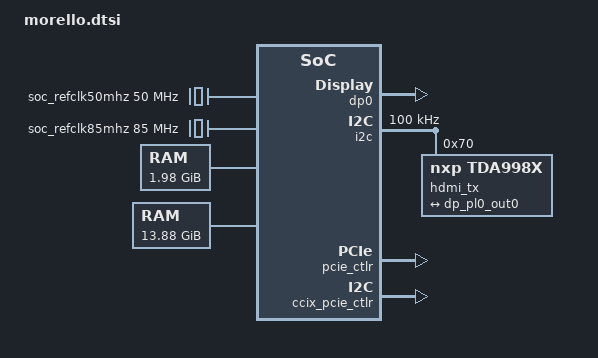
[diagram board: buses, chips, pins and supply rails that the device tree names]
// SPDX-License-Identifier: (GPL-2.0 OR BSD-3-Clause)
/*
 * Copyright (c) 2020-2024, Arm Limited. All rights reserved.
 */

#include <dt-bindings/interrupt-controller/arm-gic.h>

/ {
	interrupt-parent = <&gic>;

	#address-cells = <2>;
	#size-cells = <2>;

	chosen { };

	clocks {
		soc_refclk50mhz: clock-50000000 {
			compatible = "fixed-clock";
			#clock-cells = <0>;
			clock-frequency = <50000000>;
			clock-output-names = "apb_pclk";
		};

		soc_refclk85mhz: clock-85000000 {
			compatible = "fixed-clock";
			#clock-cells = <0>;
			clock-frequency = <85000000>;
			clock-output-names = "iofpga:aclk";
		};

		soc_uartclk: clock-50000000-uart {
			compatible = "fixed-clock";
			#clock-cells = <0>;
			clock-frequency = <50000000>;
			clock-output-names = "uartclk";
		};

		dpu_aclk: dpu-aclk {
			/* 77.1 MHz derived from 24 MHz reference clock */
			compatible = "fixed-clock";
			#clock-cells = <0>;
			clock-frequency = <350000000>;
			clock-output-names = "aclk";
		};

		dpu_pixel_clk: dpu-pixel-clk {
			compatible = "fixed-clock";
			#clock-cells = <0>;
			clock-frequency = <148500000>;
			clock-output-names = "pxclk";
		};
	};

	cpus {
		#address-cells = <2>;
		#size-cells = <0>;

		cpu0: cpu0@0 {
			compatible = "arm,neoverse-n1";
			reg = <0x0 0x0>;
			device_type = "cpu";
			enable-method = "psci";
			clocks = <&scmi_dvfs 0>;
		};

		cpu1: cpu1@100 {
			compatible = "arm,neoverse-n1";
			reg = <0x0 0x100>;
			device_type = "cpu";
			enable-method = "psci";
			clocks = <&scmi_dvfs 0>;
		};

		cpu2: cpu2@10000 {
			compatible = "arm,neoverse-n1";
			reg = <0x0 0x10000>;
			device_type = "cpu";
			enable-method = "psci";
			clocks = <&scmi_dvfs 1>;
		};

		cpu3: cpu3@10100 {
			compatible = "arm,neoverse-n1";
			reg = <0x0 0x10100>;
			device_type = "cpu";
			enable-method = "psci";
			clocks = <&scmi_dvfs 1>;
		};
	};

	firmware {
		interrupt-parent = <&gic>;

		scmi {
			compatible = "arm,scmi";
			mbox-names = "tx", "rx";
			mboxes = <&mailbox 1 0>, <&mailbox 1 1>;
			shmem = <&cpu_scp_hpri0>, <&cpu_scp_hpri1>;
			#address-cells = <1>;
			#size-cells = <0>;

			scmi_dvfs: protocol@13 {
				reg = <0x13>;
				#clock-cells = <1>;
			};

			scmi_clk: protocol@14 {
				reg = <0x14>;
				#clock-cells = <1>;
			};
		};
	};

	/* The first bank of memory, memory map is actually provided by UEFI. */
	memory@80000000 {
		device_type = "memory";
		/* [0x80000000-0xffffffff] */
		reg = <0x00000000 0x80000000 0x0 0x7F000000>;
	};

	memory@8080000000 {
		device_type = "memory";
		/* [0x8080000000-0x83f7ffffff] */
		reg = <0x00000080 0x80000000 0x3 0x78000000>;
	};

	pmu {
		compatible = "arm,armv8-pmuv3";
		interrupts = <GIC_PPI 7 IRQ_TYPE_LEVEL_HIGH>;
	};

	psci {
		compatible = "arm,psci-0.2";
		method = "smc";
	};

	reserved-memory {
		#address-cells = <2>;
		#size-cells = <2>;
		ranges;

		secure-firmware@ff000000 {
			reg = <0 0xff000000 0 0x01000000>;
			no-map;
		};
	};

	spe-pmu {
		compatible = "arm,statistical-profiling-extension-v1";
		interrupts = <GIC_PPI 5 IRQ_TYPE_LEVEL_HIGH>;
	};

	soc: soc {
		compatible = "simple-bus";
		#address-cells = <2>;
		#size-cells = <2>;
		interrupt-parent = <&gic>;
		ranges;

		dp0: display@2cc00000 {
			#address-cells = <1>;
			#size-cells = <0>;
			compatible = "arm,mali-d32", "arm,mali-d71";
			reg = <0 0x2cc00000 0 0x20000>;
			interrupts = <0 69 4>;
			clocks = <&dpu_aclk>;
			clock-names = "aclk";
			iommus = <&smmu_dp 0>, <&smmu_dp 1>, <&smmu_dp 2>, <&smmu_dp 3>,
				<&smmu_dp 8>;

			pl0: pipeline@0 {
				reg = <0>;
				clocks = <&dpu_pixel_clk>;
				clock-names = "pxclk";
				port {
					dp_pl0_out0: endpoint {
						remote-endpoint = <&tda998x_0_input>;
					};
				};
			};
		};

		i2c: i2c@1c0f0000 {
			compatible = "cdns,i2c-r1p14";
			reg = <0x0 0x1c0f0000 0x0 0x1000>;
			#address-cells = <1>;
			#size-cells = <0>;
			clock-frequency = <100000>;
			interrupts = <GIC_SPI 138 IRQ_TYPE_LEVEL_HIGH>;
			clocks = <&dpu_aclk>;

			hdmi_tx: hdmi-transmitter@70 {
				compatible = "nxp,tda998x";
				reg = <0x70>;
				video-ports = <0x234501>;
				port {
					tda998x_0_input: endpoint {
						remote-endpoint = <&dp_pl0_out0>;
					};
				};
			};
		};

		gic: interrupt-controller@2c010000 {
			compatible = "arm,gic-v3";
			#address-cells = <2>;
			#interrupt-cells = <3>;
			#size-cells = <2>;
			ranges;
			interrupt-controller;
		};

		smmu_dp: iommu@2ce00000 {
			compatible = "arm,smmu-v3";
			reg = <0 0x2ce00000 0 0x40000>;
			interrupts = <GIC_SPI 76 IRQ_TYPE_EDGE_RISING>,
					<GIC_SPI 80 IRQ_TYPE_EDGE_RISING>,
					<GIC_SPI 78 IRQ_TYPE_EDGE_RISING>;
			interrupt-names = "eventq", "gerror", "cmdq-sync";
			#iommu-cells = <1>;
		};

		smmu_ccix: iommu@4f000000 {
			compatible = "arm,smmu-v3";
			reg = <0 0x4f000000 0 0x40000>;
			interrupts = <GIC_SPI 228 IRQ_TYPE_EDGE_RISING>,
				     <GIC_SPI 230 IRQ_TYPE_EDGE_RISING>,
				     <GIC_SPI 41 IRQ_TYPE_EDGE_RISING>,
				     <GIC_SPI 229 IRQ_TYPE_EDGE_RISING>;
			interrupt-names = "eventq", "gerror", "priq", "cmdq-sync";
			msi-parent = <&its1 0>;
			#iommu-cells = <1>;
			dma-coherent;
		};

		smmu_pcie: iommu@4f400000 {
			compatible = "arm,smmu-v3";
			reg = <0 0x4f400000 0 0x40000>;
			interrupts = <GIC_SPI 235 IRQ_TYPE_EDGE_RISING>,
				     <GIC_SPI 237 IRQ_TYPE_EDGE_RISING>,
				     <GIC_SPI 40 IRQ_TYPE_EDGE_RISING>,
				     <GIC_SPI 236 IRQ_TYPE_EDGE_RISING>;
			interrupt-names = "eventq", "gerror", "priq", "cmdq-sync";
			msi-parent = <&its2 0>;
			#iommu-cells = <1>;
			dma-coherent;
		};

		mailbox: mhu@45000000 {
			compatible = "arm,mhu-doorbell", "arm,primecell";
			reg = <0x0 0x45000000 0x0 0x1000>;
			interrupts = <GIC_SPI 318 IRQ_TYPE_LEVEL_HIGH>,
				     <GIC_SPI 316 IRQ_TYPE_LEVEL_HIGH>;
			#mbox-cells = <2>;
			clocks = <&soc_refclk50mhz>;
			clock-names = "apb_pclk";
		};

		pcie_ctlr: pcie@28c0000000 {
			compatible = "pci-host-ecam-generic";
			device_type = "pci";
			reg = <0x28 0xC0000000 0 0x10000000>;
			ranges = <0x01000000 0x00 0x00000000 0x00 0x6F000000 0x00 0x00800000>,
				 <0x02000000 0x00 0x60000000 0x00 0x60000000 0x00 0x0F000000>,
				 <0x42000000 0x09 0x00000000 0x09 0x00000000 0x1F 0xC0000000>;
			bus-range = <0 255>;
			linux,pci-domain = <0>;
			#address-cells = <3>;
			#size-cells = <2>;
			dma-coherent;
			#interrupt-cells = <1>;
			interrupt-map-mask = <0 0 0 7>;
			interrupt-map = <0 0 0 1 &gic 0 0 0 169 IRQ_TYPE_LEVEL_HIGH>,
					<0 0 0 2 &gic 0 0 0 170 IRQ_TYPE_LEVEL_HIGH>,
					<0 0 0 3 &gic 0 0 0 171 IRQ_TYPE_LEVEL_HIGH>,
					<0 0 0 4 &gic 0 0 0 172 IRQ_TYPE_LEVEL_HIGH>;
			msi-map = <0 &its_pcie 0 0x10000>;
			iommu-map = <0 &smmu_pcie 0 0x10000>;
		};

		ccix_pcie_ctlr: pcie@4fc0000000 {
			compatible = "pci-host-ecam-generic";
			device_type = "pci";
			reg = <0x4F 0xC0000000 0 0x10000000>;
			ranges = <0x01000000 0x00 0x00000000 0x00 0x7F000000 0x00 0x00800000>,
				 <0x02000000 0x00 0x70000000 0x00 0x70000000 0x00 0x0F000000>,
				 <0x42000000 0x30 0x00000000 0x30 0x00000000 0x1F 0xC0000000>;
			bus-range = <0 255>;
			linux,pci-domain = <1>;
			#address-cells = <3>;
			#size-cells = <2>;
			dma-coherent;
			#interrupt-cells = <1>;
			interrupt-map-mask = <0 0 0 7>;
			interrupt-map = <0 0 0 1 &gic 0 0 0 201 IRQ_TYPE_LEVEL_HIGH>,
					<0 0 0 2 &gic 0 0 0 202 IRQ_TYPE_LEVEL_HIGH>,
					<0 0 0 3 &gic 0 0 0 203 IRQ_TYPE_LEVEL_HIGH>,
					<0 0 0 4 &gic 0 0 0 204 IRQ_TYPE_LEVEL_HIGH>;
			msi-map = <0 &its_ccix 0 0x10000>;
			iommu-map = <0 &smmu_ccix 0 0x10000>;
		};

		uart0: serial@2a400000 {
			compatible = "arm,pl011", "arm,primecell";
			reg = <0x0 0x2a400000 0x0 0x1000>;
			interrupts = <GIC_SPI 63 IRQ_TYPE_LEVEL_HIGH>;
			clocks = <&soc_uartclk>, <&soc_refclk50mhz>;
			clock-names = "uartclk", "apb_pclk";

			status = "disabled";
		};

		sram: sram@45200000 {
			compatible = "mmio-sram";
			reg = <0x0 0x06000000 0x0 0x8000>;
			ranges = <0 0x0 0x06000000 0x8000>;

			#address-cells = <1>;
			#size-cells = <1>;

			cpu_scp_hpri0: scp-sram@0 {
				compatible = "arm,scmi-shmem";
				reg = <0x0 0x80>;
			};

			cpu_scp_hpri1: scp-sram@80 {
				compatible = "arm,scmi-shmem";
				reg = <0x80 0x80>;
			};
		};

	};

	timer {
		compatible = "arm,armv8-timer";
		interrupts = <GIC_PPI 13 IRQ_TYPE_LEVEL_LOW>,
			     <GIC_PPI 14 IRQ_TYPE_LEVEL_LOW>,
			     <GIC_PPI 11 IRQ_TYPE_LEVEL_LOW>,
			     <GIC_PPI 10 IRQ_TYPE_LEVEL_LOW>;
	};
};
